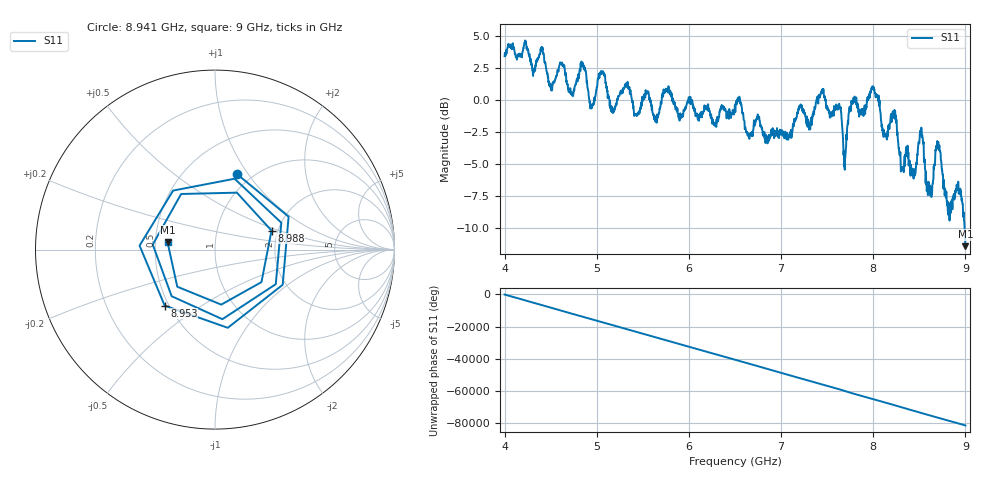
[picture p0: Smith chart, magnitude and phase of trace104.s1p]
! Created with skrf 1.8.0 (http://scikit-rf.org).
# Hz S RI R 50.0
!freq ReS11 ImS11
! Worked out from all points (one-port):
!   1601 points, 4 GHz to 9 GHz, reference 50 ohm
!   lowest |S11| = -11.5 dB at 9 GHz (marker M1), VSWR 1.73, Z = 29 + j2.5 ohm
!   |S11| at or under -10 dB: 8.990938 GHz to end of sweep
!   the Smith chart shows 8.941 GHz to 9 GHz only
!   S11 on the Smith chart (normalised r, x): 8.941 GHz: 0.86, +0.89; 8.953 GHz: 0.47, -0.36; 8.988 GHz: 1.85, +0.44; 9 GHz: 0.58, +0.05
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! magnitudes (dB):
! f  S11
! 4 GHz  3.4
! 4.403 GHz  3.9
! 4.506 GHz  0.9
! 4.625 GHz  2.8
! 4.722 GHz  0.6
! 4.856 GHz  2.7
! 4.947 GHz  -0.6
! 5.047 GHz  2.2
! 5.166 GHz  -0.5
! 5.25 GHz  0.5
! 5.875 GHz  -0.7
! 6.5 GHz  -0.3
! 7.125 GHz  -2.4
! 7.45 GHz  0.9
! 7.631 GHz  -0.3
! 7.691 GHz  -5.5
! 7.75 GHz  -0.5
! 7.997 GHz  1.0
! 8.375 GHz  -4.2
! 8.441 GHz  -5.7
! 8.522 GHz  -2.2
! 8.612 GHz  -7.4
! 8.706 GHz  -3.3
! 8.822 GHz  -8.1
! 8.941 GHz  -7.2
! 8.953 GHz  -7.5
! 8.988 GHz  -9.6
! 9 GHz  -11.5
